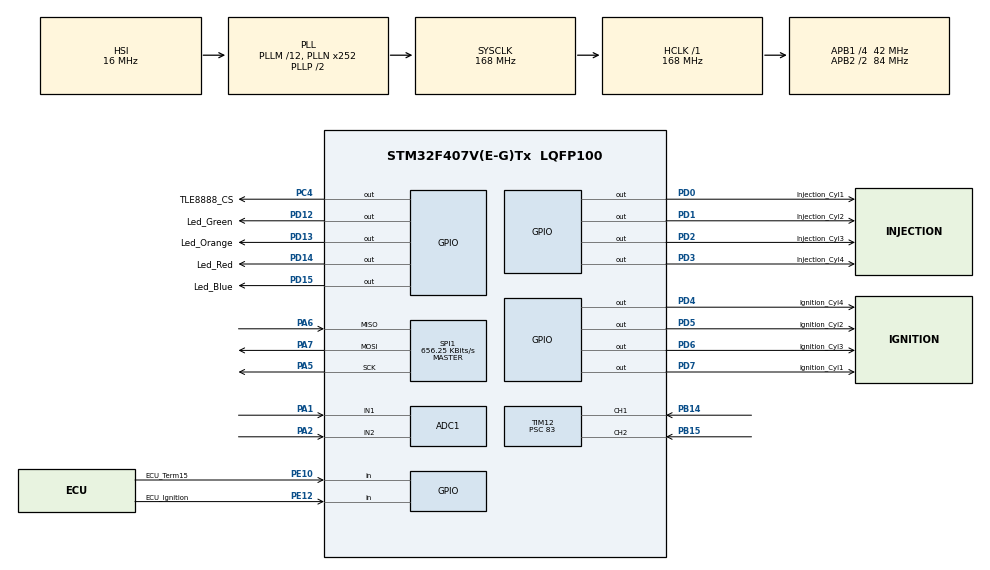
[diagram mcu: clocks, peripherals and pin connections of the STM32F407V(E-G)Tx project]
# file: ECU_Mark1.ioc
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ADC1.Channel-0\#ChannelRegularConversion=ADC_CHANNEL_1
ADC1.Channel-1\#ChannelRegularConversion=ADC_CHANNEL_2
ADC1.ContinuousConvMode=DISABLE
ADC1.DMAContinuousRequests=ENABLE
ADC1.EOCSelection=ADC_EOC_SINGLE_CONV
ADC1.ExternalTrigConv=ADC_EXTERNALTRIGCONV_T3_TRGO
ADC1.ExternalTrigConvEdge=ADC_EXTERNALTRIGCONVEDGE_RISINGFALLING
ADC1.InjNumberOfConversion=0
ADC1.NbrOfConversion=2
ADC1.NbrOfConversionFlag=1
ADC1.Rank-0\#ChannelRegularConversion=1
ADC1.Rank-1\#ChannelRegularConversion=2
ADC1.SamplingTime-0\#ChannelRegularConversion=ADC_SAMPLETIME_112CYCLES
ADC1.SamplingTime-1\#ChannelRegularConversion=ADC_SAMPLETIME_112CYCLES
ADC1.master=1
Dma.ADC1.0.Direction=DMA_PERIPH_TO_MEMORY
Dma.ADC1.0.FIFOMode=DMA_FIFOMODE_DISABLE
Dma.ADC1.0.Instance=DMA2_Stream0
Dma.ADC1.0.MemDataAlignment=DMA_MDATAALIGN_WORD
Dma.ADC1.0.MemInc=DMA_MINC_ENABLE
Dma.ADC1.0.Mode=DMA_CIRCULAR
Dma.ADC1.0.PeriphDataAlignment=DMA_PDATAALIGN_WORD
Dma.ADC1.0.PeriphInc=DMA_PINC_DISABLE
Dma.ADC1.0.Priority=DMA_PRIORITY_LOW
Dma.Request0=ADC1
Mcu.Family=STM32F4
Mcu.Name=STM32F407V(E-G)Tx
Mcu.Package=LQFP100
NVIC.ADC_IRQn=true\:2\:0\:true\:true\:true\:6\:true\:true
NVIC.DMA2_Stream0_IRQn=true\:2\:0\:true\:true\:true\:7\:false\:true
NVIC.PriorityGroup=NVIC_PRIORITYGROUP_4
NVIC.SPI1_IRQn=true\:0\:0\:false\:true\:true\:8\:true\:true
NVIC.TIM1_TRG_COM_TIM11_IRQn=true\:0\:0\:false\:true\:true\:1\:true\:true
NVIC.TIM1_UP_TIM10_IRQn=true\:0\:0\:false\:true\:true\:4\:true\:true
NVIC.TIM3_IRQn=true\:2\:0\:true\:true\:true\:2\:true\:true
NVIC.TIM8_BRK_TIM12_IRQn=true\:0\:0\:false\:true\:true\:3\:true\:true
NVIC.TIM8_TRG_COM_TIM14_IRQn=true\:0\:0\:false\:true\:true\:5\:true\:true
PA1.Signal=ADCx_IN1
PA13.Mode=Serial_Wire
PA13.Signal=SYS_JTMS-SWDIO
PA14.Mode=Serial_Wire
PA14.Signal=SYS_JTCK-SWCLK
PA2.Signal=ADCx_IN2
PA5.GPIO_PuPd=GPIO_NOPULL
PA5.Mode=Full_Duplex_Master
PA5.Signal=SPI1_SCK
PA6.GPIO_PuPd=GPIO_NOPULL
PA6.Mode=Full_Duplex_Master
PA6.Signal=SPI1_MISO
PA7.GPIO_PuPd=GPIO_NOPULL
PA7.Mode=Full_Duplex_Master
PA7.Signal=SPI1_MOSI
PB14.Signal=S_TIM12_CH1
PB15.Signal=S_TIM12_CH2
PB9.Signal=S_TIM11_CH1
PC4.GPIO_Label=TLE8888_CS
PC4.Signal=GPIO_Output
PD0.GPIO_Label=Injection_Cyl1
PD0.GPIO_PuPd=GPIO_PULLDOWN
PD0.Signal=GPIO_Output
PD1.GPIO_Label=Injection_Cyl2
PD1.GPIO_PuPd=GPIO_PULLDOWN
PD1.Signal=GPIO_Output
PD12.GPIO_Label=Led_Green
PD12.GPIO_PuPd=GPIO_PULLDOWN
PD12.Signal=GPIO_Output
PD13.GPIO_Label=Led_Orange
PD13.GPIO_PuPd=GPIO_PULLDOWN
PD13.Signal=GPIO_Output
PD14.GPIO_Label=Led_Red
PD14.GPIO_PuPd=GPIO_PULLDOWN
PD14.Signal=GPIO_Output
PD15.GPIO_Label=Led_Blue
PD15.GPIO_PuPd=GPIO_PULLDOWN
PD15.Signal=GPIO_Output
PD2.GPIO_Label=Injection_Cyl3
PD2.GPIO_PuPd=GPIO_PULLDOWN
PD2.Signal=GPIO_Output
PD3.GPIO_Label=Injection_Cyl4
PD3.GPIO_PuPd=GPIO_PULLDOWN
PD3.Signal=GPIO_Output
PD4.GPIO_Label=Ignition_Cyl4
PD4.GPIO_PuPd=GPIO_PULLDOWN
PD4.Signal=GPIO_Output
PD5.GPIO_Label=Ignition_Cyl2
PD5.GPIO_PuPd=GPIO_PULLDOWN
PD5.Signal=GPIO_Output
PD6.GPIO_Label=Ignition_Cyl3
PD6.GPIO_PuPd=GPIO_PULLDOWN
PD6.Signal=GPIO_Output
PD7.GPIO_Label=Ignition_Cyl1
PD7.GPIO_PuPd=GPIO_PULLDOWN
PD7.Signal=GPIO_Output
PE10.GPIO_Label=ECU_Term15
PE10.GPIO_Mode=GPIO_MODE_INPUT
PE10.GPIO_PuPd=GPIO_PULLDOWN
PE10.Signal=GPIO_Input
PE12.GPIO_Label=ECU_Ignition
PE12.GPIO_PuPd=GPIO_PULLDOWN
PE12.Signal=GPIO_Input
ProjectManager.HeapSize=0x200
ProjectManager.StackSize=0x400
ProjectManager.TargetToolchain=STM32CubeIDE
RCC.48MHZClocksFreq_Value=84000000
RCC.AHBFreq_Value=168000000
RCC.APB1CLKDivider=RCC_HCLK_DIV4
RCC.APB1Freq_Value=42000000
RCC.APB1TimFreq_Value=84000000
RCC.APB2CLKDivider=RCC_HCLK_DIV2
RCC.APB2Freq_Value=84000000
RCC.APB2TimFreq_Value=168000000
RCC.CortexFreq_Value=168000000
RCC.HCLKFreq_Value=168000000
RCC.HSE_VALUE=26000000
RCC.HSI_VALUE=16000000
RCC.LSE_VALUE=32768
RCC.PLLM=12
RCC.PLLN=252
RCC.SYSCLKFreq_VALUE=168000000
RCC.SYSCLKSource=RCC_SYSCLKSOURCE_PLLCLK
RCC.VCOOutputFreq_Value=336000000
SH.ADCx_IN1.0=ADC1_IN1,IN1
SH.ADCx_IN2.0=ADC1_IN2,IN2
SH.S_TIM11_CH1.0=TIM11_CH1
SH.S_TIM12_CH1.0=TIM12_CH1,Input_Capture1_from_TI1
SH.S_TIM12_CH2.0=TIM12_CH2,Input_Capture2_from_TI2
SPI1.BaudRatePrescaler=SPI_BAUDRATEPRESCALER_128
SPI1.CLKPhase=SPI_PHASE_1EDGE
SPI1.CalculateBaudRate=656.25 KBits/s
SPI1.DataSize=SPI_DATASIZE_16BIT
SPI1.Direction=SPI_DIRECTION_2LINES
SPI1.FirstBit=SPI_FIRSTBIT_LSB
SPI1.Mode=SPI_MODE_MASTER
SPI1.VirtualType=VM_MASTER
TIM10.AutoReloadPreload=TIM_AUTORELOAD_PRELOAD_ENABLE
TIM10.Channel=TIM_CHANNEL_1
TIM10.Period=10
TIM10.Prescaler=167
TIM10.Pulse=500
TIM11.AutoReloadPreload=TIM_AUTORELOAD_PRELOAD_ENABLE
TIM11.Channel=TIM_CHANNEL_1
TIM11.ClockDivision=TIM_CLOCKDIVISION_DIV1
TIM11.Period=10
TIM11.Prescaler=167
TIM11.Pulse=500
TIM12.AutoReloadPreload=TIM_AUTORELOAD_PRELOAD_ENABLE
TIM12.Channel-Input_Capture1_from_TI1=TIM_CHANNEL_1
TIM12.Channel-Input_Capture2_from_TI2=TIM_CHANNEL_2
TIM12.Prescaler=83
TIM14.AutoReloadPreload=TIM_AUTORELOAD_PRELOAD_ENABLE
TIM14.Channel=TIM_CHANNEL_1
TIM14.Period=10
TIM14.Prescaler=83
TIM14.Pulse=500
TIM3.AutoReloadPreload=TIM_AUTORELOAD_PRELOAD_ENABLE
TIM3.Channel-Output\ Compare1\ No\ Output=TIM_CHANNEL_1
TIM3.Channel-Output\ Compare2\ No\ Output=TIM_CHANNEL_2
TIM3.Period=50000
TIM3.Prescaler=84
TIM3.TIM_MasterOutputTrigger=TIM_TRGO_UPDATE
VP_TIM10_VS_ClockSourceINT.Mode=Enable_Timer
VP_TIM10_VS_OPM.Mode=OPM_bit
VP_TIM10_VS_no_output1.Mode=PWM Generation1 No Output
VP_TIM11_VS_ClockSourceINT.Mode=Enable_Timer
VP_TIM11_VS_OPM.Mode=OPM_bit
VP_TIM11_VS_no_output1.Mode=PWM Generation1 No Output
VP_TIM12_VS_ClockSourceINT.Mode=Internal
VP_TIM14_VS_ClockSourceINT.Mode=Enable_Timer
VP_TIM14_VS_OPM.Mode=OPM_bit
VP_TIM14_VS_no_output1.Mode=PWM Generation1 No Output
VP_TIM3_VS_ClockSourceINT.Mode=Internal
VP_TIM3_VS_no_output1.Mode=Output Compare1 No Output
VP_TIM3_VS_no_output2.Mode=Output Compare2 No Output
board=custom

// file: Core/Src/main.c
/* USER CODE BEGIN Header */
/**
  ******************************************************************************
  * @file           : main.c
  * @brief          : Main program body
  ******************************************************************************
  * @attention
  *
  * <h2><center>&copy; Copyright (c) 2020 STMicroelectronics.
  * All rights reserved.</center></h2>
  *
  * This software component is licensed by ST under BSD 3-Clause license,
  * the "License"; You may not use this file except in compliance with the
  * License. You may obtain a copy of the License at:
  *                        opensource.org/licenses/BSD-3-Clause
  *
  ******************************************************************************
  */
/* USER CODE END Header */
#include "main.h"

/* USER CODE BEGIN Includes */
#include <string.h>
#include "systemconfig.h"
#include "adc.h"
#include "crankshaft.h"
#include "ignition.h"
#include "camshaft.h"
#include "injection.h"
#include "ecucentral.h"
#include "errorhandler.h"
/* USER CODE END Includes */

ADC_HandleTypeDef hadc1;
DMA_HandleTypeDef hdma_adc1;

SPI_HandleTypeDef hspi1;

TIM_HandleTypeDef htim3;
TIM_HandleTypeDef htim10;
TIM_HandleTypeDef htim11;
TIM_HandleTypeDef htim12;
TIM_HandleTypeDef htim14;

void SystemClock_Config(void);
static void MX_GPIO_Init(void);
static void MX_DMA_Init(void);
static void MX_TIM11_Init(void);
static void MX_TIM3_Init(void);
static void MX_TIM12_Init(void);
static void MX_TIM10_Init(void);
static void MX_TIM14_Init(void);
static void MX_ADC1_Init(void);
static void MX_SPI1_Init(void);
static void MX_NVIC_Init(void);

int main(void)
{

  /* MCU Configuration--------------------------------------------------------*/

  /* Reset of all peripherals, Initializes the Flash interface and the Systick. */
  HAL_Init();

  /* Configure the system clock */
  SystemClock_Config();

  /* Initialize all configured peripherals */
  MX_GPIO_Init();
  MX_DMA_Init();
  MX_TIM11_Init();
  MX_TIM3_Init();
  MX_TIM12_Init();
  MX_TIM10_Init();
  MX_TIM14_Init();
  MX_ADC1_Init();
  MX_SPI1_Init();

  /* Initialize interrupts */
  MX_NVIC_Init();
  /* USER CODE BEGIN 2 */

  /* Put Custom INIT here, since peripherals need to be initialized first */
  // Scheduler_Init(); here the TIM channel is assigned to scheduler 10ms and initialized to run periodically

  ErrorHandler_Init();

  Crank_Init(&htim12,TIM_CHANNEL_1,HAL_TIM_ACTIVE_CHANNEL_1);		// Initialize Crankshaft related sensing + (Hall Timer)
  Cam_Init(&htim12,TIM_CHANNEL_2,HAL_TIM_ACTIVE_CHANNEL_2);			// Initialize Camshaft related sensing + (Hall Timer)

  Ignition_Init_FireTIM(&htim10,TIM_CHANNEL_1,HAL_TIM_ACTIVE_CHANNEL_1);
  Ignition_Init_DwellTIM(&htim11,TIM_CHANNEL_1,HAL_TIM_ACTIVE_CHANNEL_1);
  Ignition_Init_IOConfig(GPIOD,Ignition_Cyl1_Pin,GPIOD,Ignition_Cyl2_Pin,GPIOD,Ignition_Cyl3_Pin,GPIOD,Ignition_Cyl4_Pin);
  Ignition_Init_IgnitionCyl();

  // Injection Init Functions
  Injection_Init_InjectorTIM(&htim14,TIM_CHANNEL_1,HAL_TIM_ACTIVE_CHANNEL_1);
  Injection_Init_IOConfig(GPIOD,Injection_Cyl1_Pin,GPIOD,Injection_Cyl2_Pin,GPIOD,Injection_Cyl3_Pin,GPIOD,Injection_Cyl4_Pin);
  Injection_Init_InjectionCyl();

  ADC_Init_TriggerTIM(&htim3,TIM_CHANNEL_1,HAL_TIM_ACTIVE_CHANNEL_1);
  ADC_Init_ADC1(&hadc1);

  /* USER CODE END 2 */

  /* Infinite loop */
  while (1)
  {

    /* USER CODE BEGIN 3 */

	  char message[] = "Hello, World";
	  HAL_GPIO_WritePin(TLE8888_CS_GPIO_Port, TLE8888_CS_Pin, GPIO_PIN_RESET);
	  HAL_SPI_Transmit(&hspi1, (uint8_t *)message, strlen(message), HAL_MAX_DELAY);
	  HAL_GPIO_WritePin(TLE8888_CS_GPIO_Port, TLE8888_CS_Pin, GPIO_PIN_SET);
	  HAL_Delay(10);
	  HAL_Delay(100);

	  //HAL_GPIO_TogglePin(GPIOD,Led_Red_Pin);
  }
  /* USER CODE END 3 */
}

void SystemClock_Config(void)
{
  RCC_OscInitTypeDef RCC_OscInitStruct = {0};
  RCC_ClkInitTypeDef RCC_ClkInitStruct = {0};

  /** Configure the main internal regulator output voltage
  */
  __HAL_RCC_PWR_CLK_ENABLE();
  __HAL_PWR_VOLTAGESCALING_CONFIG(PWR_REGULATOR_VOLTAGE_SCALE1);
  /** Initializes the RCC Oscillators according to the specified parameters
  * in the RCC_OscInitTypeDef structure.
  */
  RCC_OscInitStruct.OscillatorType = RCC_OSCILLATORTYPE_HSI;
  RCC_OscInitStruct.HSIState = RCC_HSI_ON;
  RCC_OscInitStruct.HSICalibrationValue = RCC_HSICALIBRATION_DEFAULT;
  RCC_OscInitStruct.PLL.PLLState = RCC_PLL_ON;
  RCC_OscInitStruct.PLL.PLLSource = RCC_PLLSOURCE_HSI;
  RCC_OscInitStruct.PLL.PLLM = 12;
  RCC_OscInitStruct.PLL.PLLN = 252;
  RCC_OscInitStruct.PLL.PLLP = RCC_PLLP_DIV2;
  RCC_OscInitStruct.PLL.PLLQ = 4;
  if (HAL_RCC_OscConfig(&RCC_OscInitStruct) != HAL_OK)
  {
    Error_Handler();
  }
  /** Initializes the CPU, AHB and APB buses clocks
  */
  RCC_ClkInitStruct.ClockType = RCC_CLOCKTYPE_HCLK|RCC_CLOCKTYPE_SYSCLK
                              |RCC_CLOCKTYPE_PCLK1|RCC_CLOCKTYPE_PCLK2;
  RCC_ClkInitStruct.SYSCLKSource = RCC_SYSCLKSOURCE_PLLCLK;
  RCC_ClkInitStruct.AHBCLKDivider = RCC_SYSCLK_DIV1;
  RCC_ClkInitStruct.APB1CLKDivider = RCC_HCLK_DIV4;
  RCC_ClkInitStruct.APB2CLKDivider = RCC_HCLK_DIV2;

  if (HAL_RCC_ClockConfig(&RCC_ClkInitStruct, FLASH_LATENCY_5) != HAL_OK)
  {
    Error_Handler();
  }
}

/**
  * @brief NVIC Configuration.
  * @retval None
  */
static void MX_NVIC_Init(void)
{
  /* TIM1_TRG_COM_TIM11_IRQn interrupt configuration */
  HAL_NVIC_SetPriority(TIM1_TRG_COM_TIM11_IRQn, 0, 0);
  HAL_NVIC_EnableIRQ(TIM1_TRG_COM_TIM11_IRQn);
  /* TIM3_IRQn interrupt configuration */
  HAL_NVIC_SetPriority(TIM3_IRQn, 2, 0);
  HAL_NVIC_EnableIRQ(TIM3_IRQn);
  /* TIM8_BRK_TIM12_IRQn interrupt configuration */
  HAL_NVIC_SetPriority(TIM8_BRK_TIM12_IRQn, 0, 0);
  HAL_NVIC_EnableIRQ(TIM8_BRK_TIM12_IRQn);
  /* TIM1_UP_TIM10_IRQn interrupt configuration */
  HAL_NVIC_SetPriority(TIM1_UP_TIM10_IRQn, 0, 0);
  HAL_NVIC_EnableIRQ(TIM1_UP_TIM10_IRQn);
  /* TIM8_TRG_COM_TIM14_IRQn interrupt configuration */
  HAL_NVIC_SetPriority(TIM8_TRG_COM_TIM14_IRQn, 0, 0);
  HAL_NVIC_EnableIRQ(TIM8_TRG_COM_TIM14_IRQn);
  /* ADC_IRQn interrupt configuration */
  HAL_NVIC_SetPriority(ADC_IRQn, 2, 0);
  HAL_NVIC_EnableIRQ(ADC_IRQn);
  /* DMA2_Stream0_IRQn interrupt configuration */
  HAL_NVIC_SetPriority(DMA2_Stream0_IRQn, 2, 0);
  HAL_NVIC_EnableIRQ(DMA2_Stream0_IRQn);
  /* SPI1_IRQn interrupt configuration */
  HAL_NVIC_SetPriority(SPI1_IRQn, 0, 0);
  HAL_NVIC_EnableIRQ(SPI1_IRQn);
}

static void MX_ADC1_Init(void)
{

  ADC_ChannelConfTypeDef sConfig = {0};

  /** Configure the global features of the ADC (Clock, Resolution, Data Alignment and number of conversion)
  */
  hadc1.Instance = ADC1;
  hadc1.Init.ClockPrescaler = ADC_CLOCK_SYNC_PCLK_DIV4;
  hadc1.Init.Resolution = ADC_RESOLUTION_12B;
  hadc1.Init.ScanConvMode = ENABLE;
  hadc1.Init.ContinuousConvMode = DISABLE;
  hadc1.Init.DiscontinuousConvMode = DISABLE;
  hadc1.Init.ExternalTrigConvEdge = ADC_EXTERNALTRIGCONVEDGE_RISINGFALLING;
  hadc1.Init.ExternalTrigConv = ADC_EXTERNALTRIGCONV_T3_TRGO;
  hadc1.Init.DataAlign = ADC_DATAALIGN_RIGHT;
  hadc1.Init.NbrOfConversion = 2;
  hadc1.Init.DMAContinuousRequests = ENABLE;
  hadc1.Init.EOCSelection = ADC_EOC_SINGLE_CONV;
  if (HAL_ADC_Init(&hadc1) != HAL_OK)
  {
    Error_Handler();
  }
  /** Configure for the selected ADC regular channel its corresponding rank in the sequencer and its sample time.
  */
  sConfig.Channel = ADC_CHANNEL_1;
  sConfig.Rank = 1;
  sConfig.SamplingTime = ADC_SAMPLETIME_112CYCLES;
  if (HAL_ADC_ConfigChannel(&hadc1, &sConfig) != HAL_OK)
  {
    Error_Handler();
  }
  /** Configure for the selected ADC regular channel its corresponding rank in the sequencer and its sample time.
  */
  sConfig.Channel = ADC_CHANNEL_2;
  sConfig.Rank = 2;
  if (HAL_ADC_ConfigChannel(&hadc1, &sConfig) != HAL_OK)
  {
    Error_Handler();
  }

}

static void MX_SPI1_Init(void)
{

  /* SPI1 parameter configuration*/
  hspi1.Instance = SPI1;
  hspi1.Init.Mode = SPI_MODE_MASTER;
  hspi1.Init.Direction = SPI_DIRECTION_2LINES;
  hspi1.Init.DataSize = SPI_DATASIZE_16BIT;
  hspi1.Init.CLKPolarity = SPI_POLARITY_LOW;
  hspi1.Init.CLKPhase = SPI_PHASE_1EDGE;
  hspi1.Init.NSS = SPI_NSS_SOFT;
  hspi1.Init.BaudRatePrescaler = SPI_BAUDRATEPRESCALER_128;
  hspi1.Init.FirstBit = SPI_FIRSTBIT_LSB;
  hspi1.Init.TIMode = SPI_TIMODE_DISABLE;
  hspi1.Init.CRCCalculation = SPI_CRCCALCULATION_DISABLE;
  hspi1.Init.CRCPolynomial = 10;
  if (HAL_SPI_Init(&hspi1) != HAL_OK)
  {
    Error_Handler();
  }

}

static void MX_TIM3_Init(void)
{

  TIM_ClockConfigTypeDef sClockSourceConfig = {0};
  TIM_MasterConfigTypeDef sMasterConfig = {0};
  TIM_OC_InitTypeDef sConfigOC = {0};

  htim3.Instance = TIM3;
  htim3.Init.Prescaler = 84;
  htim3.Init.CounterMode = TIM_COUNTERMODE_UP;
  htim3.Init.Period = 50000;
  htim3.Init.ClockDivision = TIM_CLOCKDIVISION_DIV1;
  htim3.Init.AutoReloadPreload = TIM_AUTORELOAD_PRELOAD_ENABLE;
  if (HAL_TIM_Base_Init(&htim3) != HAL_OK)
  {
    Error_Handler();
  }
  sClockSourceConfig.ClockSource = TIM_CLOCKSOURCE_INTERNAL;
  if (HAL_TIM_ConfigClockSource(&htim3, &sClockSourceConfig) != HAL_OK)
  {
    Error_Handler();
  }
  if (HAL_TIM_OC_Init(&htim3) != HAL_OK)
  {
    Error_Handler();
  }
  sMasterConfig.MasterOutputTrigger = TIM_TRGO_UPDATE;
  sMasterConfig.MasterSlaveMode = TIM_MASTERSLAVEMODE_DISABLE;
  if (HAL_TIMEx_MasterConfigSynchronization(&htim3, &sMasterConfig) != HAL_OK)
  {
    Error_Handler();
  }
  sConfigOC.OCMode = TIM_OCMODE_TIMING;
  sConfigOC.Pulse = 0;
  sConfigOC.OCPolarity = TIM_OCPOLARITY_HIGH;
  sConfigOC.OCFastMode = TIM_OCFAST_DISABLE;
  if (HAL_TIM_OC_ConfigChannel(&htim3, &sConfigOC, TIM_CHANNEL_1) != HAL_OK)
  {
    Error_Handler();
  }
  if (HAL_TIM_OC_ConfigChannel(&htim3, &sConfigOC, TIM_CHANNEL_2) != HAL_OK)
  {
    Error_Handler();
  }

}

static void MX_TIM10_Init(void)
{

  TIM_OC_InitTypeDef sConfigOC = {0};

  htim10.Instance = TIM10;
  htim10.Init.Prescaler = 167;
  htim10.Init.CounterMode = TIM_COUNTERMODE_UP;
  htim10.Init.Period = 10;
  htim10.Init.ClockDivision = TIM_CLOCKDIVISION_DIV1;
  htim10.Init.AutoReloadPreload = TIM_AUTORELOAD_PRELOAD_ENABLE;
  if (HAL_TIM_Base_Init(&htim10) != HAL_OK)
  {
    Error_Handler();
  }
  if (HAL_TIM_PWM_Init(&htim10) != HAL_OK)
  {
    Error_Handler();
  }
  if (HAL_TIM_OnePulse_Init(&htim10, TIM_OPMODE_SINGLE) != HAL_OK)
  {
    Error_Handler();
  }
  sConfigOC.OCMode = TIM_OCMODE_PWM1;
  sConfigOC.Pulse = 500;
  sConfigOC.OCPolarity = TIM_OCPOLARITY_HIGH;
  sConfigOC.OCFastMode = TIM_OCFAST_DISABLE;
  if (HAL_TIM_PWM_ConfigChannel(&htim10, &sConfigOC, TIM_CHANNEL_1) != HAL_OK)
  {
    Error_Handler();
  }

}

static void MX_TIM11_Init(void)
{

  TIM_OC_InitTypeDef sConfigOC = {0};

  htim11.Instance = TIM11;
  htim11.Init.Prescaler = 167;
  htim11.Init.CounterMode = TIM_COUNTERMODE_UP;
  htim11.Init.Period = 10;
  htim11.Init.ClockDivision = TIM_CLOCKDIVISION_DIV1;
  htim11.Init.AutoReloadPreload = TIM_AUTORELOAD_PRELOAD_ENABLE;
  if (HAL_TIM_Base_Init(&htim11) != HAL_OK)
  {
    Error_Handler();
  }
  if (HAL_TIM_PWM_Init(&htim11) != HAL_OK)
  {
    Error_Handler();
  }
  if (HAL_TIM_OnePulse_Init(&htim11, TIM_OPMODE_SINGLE) != HAL_OK)
  {
    Error_Handler();
  }
  sConfigOC.OCMode = TIM_OCMODE_PWM1;
  sConfigOC.Pulse = 500;
  sConfigOC.OCPolarity = TIM_OCPOLARITY_HIGH;
  sConfigOC.OCFastMode = TIM_OCFAST_DISABLE;
  if (HAL_TIM_PWM_ConfigChannel(&htim11, &sConfigOC, TIM_CHANNEL_1) != HAL_OK)
  {
    Error_Handler();
  }

}

static void MX_TIM12_Init(void)
{

  TIM_ClockConfigTypeDef sClockSourceConfig = {0};
  TIM_IC_InitTypeDef sConfigIC = {0};

  htim12.Instance = TIM12;
  htim12.Init.Prescaler = 83;
  htim12.Init.CounterMode = TIM_COUNTERMODE_UP;
  htim12.Init.Period = 65535;
  htim12.Init.ClockDivision = TIM_CLOCKDIVISION_DIV1;
  htim12.Init.AutoReloadPreload = TIM_AUTORELOAD_PRELOAD_ENABLE;
  if (HAL_TIM_Base_Init(&htim12) != HAL_OK)
  {
    Error_Handler();
  }
  sClockSourceConfig.ClockSource = TIM_CLOCKSOURCE_INTERNAL;
  if (HAL_TIM_ConfigClockSource(&htim12, &sClockSourceConfig) != HAL_OK)
  {
    Error_Handler();
  }
  if (HAL_TIM_IC_Init(&htim12) != HAL_OK)
  {
    Error_Handler();
  }
  sConfigIC.ICPolarity = TIM_INPUTCHANNELPOLARITY_RISING;
  sConfigIC.ICSelection = TIM_ICSELECTION_DIRECTTI;
  sConfigIC.ICPrescaler = TIM_ICPSC_DIV1;
  sConfigIC.ICFilter = 0;
  if (HAL_TIM_IC_ConfigChannel(&htim12, &sConfigIC, TIM_CHANNEL_1) != HAL_OK)
  {
    Error_Handler();
  }
  if (HAL_TIM_IC_ConfigChannel(&htim12, &sConfigIC, TIM_CHANNEL_2) != HAL_OK)
  {
    Error_Handler();
  }

}

static void MX_TIM14_Init(void)
{

  TIM_OC_InitTypeDef sConfigOC = {0};

  htim14.Instance = TIM14;
  htim14.Init.Prescaler = 83;
  htim14.Init.CounterMode = TIM_COUNTERMODE_UP;
  htim14.Init.Period = 10;
  htim14.Init.ClockDivision = TIM_CLOCKDIVISION_DIV1;
  htim14.Init.AutoReloadPreload = TIM_AUTORELOAD_PRELOAD_ENABLE;
  if (HAL_TIM_Base_Init(&htim14) != HAL_OK)
  {
    Error_Handler();
  }
  if (HAL_TIM_PWM_Init(&htim14) != HAL_OK)
  {
    Error_Handler();
  }
  if (HAL_TIM_OnePulse_Init(&htim14, TIM_OPMODE_SINGLE) != HAL_OK)
  {
    Error_Handler();
  }
  sConfigOC.OCMode = TIM_OCMODE_PWM1;
  sConfigOC.Pulse = 500;
  sConfigOC.OCPolarity = TIM_OCPOLARITY_HIGH;
  sConfigOC.OCFastMode = TIM_OCFAST_DISABLE;
  if (HAL_TIM_PWM_ConfigChannel(&htim14, &sConfigOC, TIM_CHANNEL_1) != HAL_OK)
  {
    Error_Handler();
  }

}

static void MX_DMA_Init(void)
{

  /* DMA controller clock enable */
  __HAL_RCC_DMA2_CLK_ENABLE();

}

static void MX_GPIO_Init(void)
{
  GPIO_InitTypeDef GPIO_InitStruct = {0};

  /* GPIO Ports Clock Enable */
  __HAL_RCC_GPIOA_CLK_ENABLE();
  __HAL_RCC_GPIOC_CLK_ENABLE();
  __HAL_RCC_GPIOE_CLK_ENABLE();
  __HAL_RCC_GPIOB_CLK_ENABLE();
  __HAL_RCC_GPIOD_CLK_ENABLE();

  /*Configure GPIO pin Output Level */
  HAL_GPIO_WritePin(TLE8888_CS_GPIO_Port, TLE8888_CS_Pin, GPIO_PIN_RESET);

  /*Configure GPIO pin Output Level */
  HAL_GPIO_WritePin(GPIOD, Led_Green_Pin|Led_Orange_Pin|Led_Red_Pin|Led_Blue_Pin
                          |Injection_Cyl1_Pin|Injection_Cyl2_Pin|Injection_Cyl3_Pin|Injection_Cyl4_Pin
                          |Ignition_Cyl4_Pin|Ignition_Cyl2_Pin|Ignition_Cyl3_Pin|Ignition_Cyl1_Pin, GPIO_PIN_RESET);

  /*Configure GPIO pin : TLE8888_CS_Pin */
  GPIO_InitStruct.Pin = TLE8888_CS_Pin;
  GPIO_InitStruct.Mode = GPIO_MODE_OUTPUT_PP;
  GPIO_InitStruct.Pull = GPIO_NOPULL;
  GPIO_InitStruct.Speed = GPIO_SPEED_FREQ_LOW;
  HAL_GPIO_Init(TLE8888_CS_GPIO_Port, &GPIO_InitStruct);

  /*Configure GPIO pins : ECU_Term15_Pin ECU_Ignition_Pin */
  GPIO_InitStruct.Pin = ECU_Term15_Pin|ECU_Ignition_Pin;
  GPIO_InitStruct.Mode = GPIO_MODE_INPUT;
  GPIO_InitStruct.Pull = GPIO_PULLDOWN;
  HAL_GPIO_Init(GPIOE, &GPIO_InitStruct);

  /*Configure GPIO pins : Led_Green_Pin Led_Orange_Pin Led_Red_Pin Led_Blue_Pin
                           Injection_Cyl1_Pin Injection_Cyl2_Pin Injection_Cyl3_Pin Injection_Cyl4_Pin
                           Ignition_Cyl4_Pin Ignition_Cyl2_Pin Ignition_Cyl3_Pin Ignition_Cyl1_Pin */
  GPIO_InitStruct.Pin = Led_Green_Pin|Led_Orange_Pin|Led_Red_Pin|Led_Blue_Pin
                          |Injection_Cyl1_Pin|Injection_Cyl2_Pin|Injection_Cyl3_Pin|Injection_Cyl4_Pin
                          |Ignition_Cyl4_Pin|Ignition_Cyl2_Pin|Ignition_Cyl3_Pin|Ignition_Cyl1_Pin;
  GPIO_InitStruct.Mode = GPIO_MODE_OUTPUT_PP;
  GPIO_InitStruct.Pull = GPIO_PULLDOWN;
  GPIO_InitStruct.Speed = GPIO_SPEED_FREQ_LOW;
  HAL_GPIO_Init(GPIOD, &GPIO_InitStruct);

}

/* USER CODE BEGIN 4 */
void HAL_ADC_ConvCpltCallback(ADC_HandleTypeDef* hadc) {

	ECU_MainLoop(); // Call ECU Main Loop after conversion finished
}

void HAL_TIM_PeriodElapsedCallback(TIM_HandleTypeDef *htim){
	if (htim == &htim3){

		if (htim->Channel == HAL_TIM_ACTIVE_CHANNEL_2){
			//HAL_GPIO_TogglePin(GPIOD,Led_Blue_Pin);
		}else{
			//HAL_GPIO_TogglePin(GPIOD,Led_Green_Pin);
			//ECU_MainLoop(); // Call ECU Main Loop (10ms at the moment)
			// TODO add some diagnostic loop if necessary (100ms for example)
		}
	}else{
		__NOP();
	}
}

void HAL_TIM_PWM_PulseFinishedCallback(TIM_HandleTypeDef *htim){

	if(htim == Injection_InjectorTIM.Handler){
		// Injector OPM TIM Channels
		if(htim->Channel == Injection_InjectorTIM.ActiveChannel){
			HAL_GPIO_WritePin(GPIOD,Injection_Cyl1_Pin,GPIO_PIN_RESET);
			HAL_GPIO_WritePin(GPIOD,Injection_Cyl2_Pin,GPIO_PIN_RESET);
			HAL_GPIO_WritePin(GPIOD,Injection_Cyl3_Pin,GPIO_PIN_RESET);
			HAL_GPIO_WritePin(GPIOD,Injection_Cyl4_Pin,GPIO_PIN_RESET);
		}
	}

	if(htim == Ignition_FireTIM.Handler){
		// Ignition OPM TIM Channels
		if(htim->Channel == Ignition_FireTIM.ActiveChannel){
			// Cylinder 1
			if (Ignition_Cyl1.firestate == TRIG_FIRE){
				HAL_GPIO_WritePin(GPIOD,Ignition_Cyl1_Pin,GPIO_PIN_RESET);
				Ignition_FireStarted(&Ignition_Cyl1);
			}
			// Cylinder 2
			if (Ignition_Cyl2.firestate == TRIG_FIRE){
				HAL_GPIO_WritePin(GPIOD,Ignition_Cyl2_Pin,GPIO_PIN_RESET);
				Ignition_FireStarted(&Ignition_Cyl2);}
			// Cylinder 3
			if (Ignition_Cyl3.firestate == TRIG_FIRE){
				HAL_GPIO_WritePin(GPIOD,Ignition_Cyl3_Pin,GPIO_PIN_RESET);
				Ignition_FireStarted(&Ignition_Cyl3);
			}
			// Cylinder 4
			if (Ignition_Cyl4.firestate == TRIG_FIRE){
				HAL_GPIO_WritePin(GPIOD,Ignition_Cyl4_Pin,GPIO_PIN_RESET);
				Ignition_FireStarted(&Ignition_Cyl4);}
		}
	}

	if(htim == Ignition_DwellTIM.Handler){
		// Dwell OPM TIM Channels
		if(htim->Channel == Ignition_DwellTIM.ActiveChannel){
			// Cylinder 1
			if (Ignition_Cyl1.dwellstate == TRIG_DWELL){
				HAL_GPIO_WritePin(GPIOD,Ignition_Cyl1_Pin,GPIO_PIN_SET);
				Ignition_DwellStarted(&Ignition_Cyl1);
			}
			// Cylinder 2
			if (Ignition_Cyl2.dwellstate == TRIG_DWELL){
				HAL_GPIO_WritePin(GPIOD,Ignition_Cyl2_Pin,GPIO_PIN_SET);
				Ignition_DwellStarted(&Ignition_Cyl2);}
			// Cylinder 3
			if (Ignition_Cyl3.dwellstate == TRIG_DWELL){
				HAL_GPIO_WritePin(GPIOD,Ignition_Cyl3_Pin,GPIO_PIN_SET);
				Ignition_DwellStarted(&Ignition_Cyl3);
			}
			// Cylinder 4
			if (Ignition_Cyl4.dwellstate == TRIG_DWELL){
				HAL_GPIO_WritePin(GPIOD,Ignition_Cyl4_Pin,GPIO_PIN_SET);
				Ignition_DwellStarted(&Ignition_Cyl4);}
		}
	}
}

void HAL_TIM_IC_CaptureCallback( TIM_HandleTypeDef *htim ){

	if(htim == Cam_HallTIM.Handler){
		if(htim->Channel == Cam_HallTIM.ActiveChannel){
			Cam_HalGeberDriver(); // TODO implement real driver, for now its only deteting a singl rising signal.
		}
	}

	if(htim == Crank_HallTIM.Handler){
		if(htim->Channel == Crank_HallTIM.ActiveChannel){
			// Ignite before halgeber driver, if the tooth is fine. There is huge delay (30-40us) in high speed9:
			Crank_AngleCalc(); // roughly 10us computation time
			if (Crank_TeethCount == 1)
				Cam_CrankPositionSync();

			Injection_DriverLoop(Cam_HalfCycle,Crank_TeethCount);

			Ignition_DriverLoop(Cam_HalfCycle,Crank_TeethCount);

			// Call the Hall driver at the end. Since it takes most time and it can be called at the end, since the tooth counter is implemented at the beginning,
			// therefore it is not critical for performance.
			Crank_HalGeberDriver();
		}
	}else{
		__NOP();
	}
}
/* USER CODE END 4 */

void Error_Handler(void)
{
}

/************************ (C) COPYRIGHT STMicroelectronics *****END OF FILE****/
